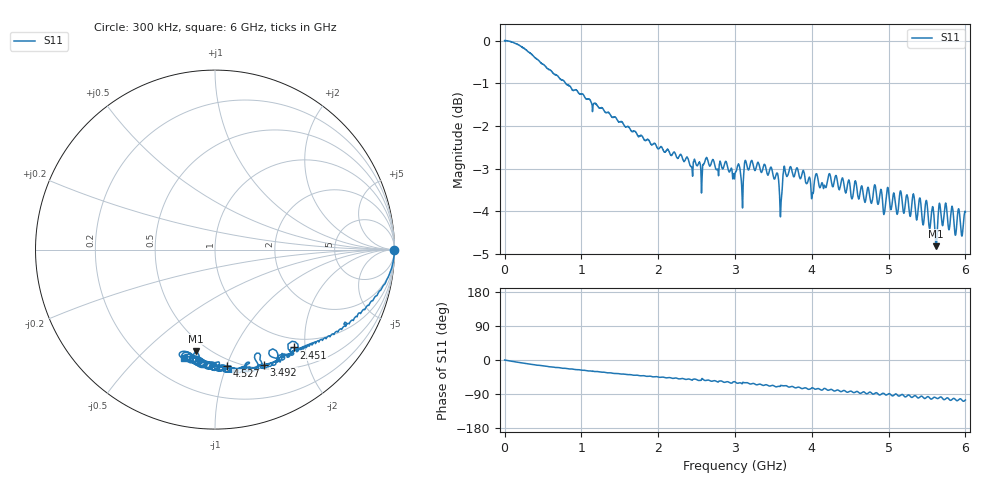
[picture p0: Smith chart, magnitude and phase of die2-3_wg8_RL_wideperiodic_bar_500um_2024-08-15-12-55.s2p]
!Keysight Technologies,P9374A,MY57304198,A.17.20.09
!Date: Thursday, August 15, 2024 12:56:09
!Correction: S11(C  1-Port  )
!S21(C  1-Port  )
!S12(Off)
!S22(Off)
!S2P File: Measurements: S11, S21, S12, S22:
# Hz S  dB  R 50
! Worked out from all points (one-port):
!   6000 points, 300 kHz to 6 GHz, reference 50 ohm
!   lowest |S11| = -4.8 dB at 5.619 GHz (marker M1), VSWR 3.70, Z = 21.7 - j36.6 ohm
!   |S11| at or under -10 dB: nowhere
!   S11 on the Smith chart (normalised r, x): 300 kHz: open; 2.451 GHz: 0.83, -1.78; 3.492 GHz: 0.54, -1.37; 4.527 GHz: 0.44, -1.01; 6 GHz: 0.35, -0.70
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300000  -0.00 -0.0  -200.00 45.0  -200.00 45.0  -200.00 45.0
4.153484e8  -0.43 -13.6  -200.00 45.0  -200.00 45.0  -200.00 45.0
1.000417e9  -1.25 -27.0  -200.00 45.0  -200.00 45.0  -200.00 45.0
2.000533e9  -2.53 -44.9  -200.00 45.0  -200.00 45.0  -200.00 45.0
2.450586e9  -3.10 -51.1  -200.00 45.0  -200.00 45.0  -200.00 45.0
3.00065e9  -3.11 -57.6  -200.00 45.0  -200.00 45.0  -200.00 45.0
3.072658e9  -3.11 -60.4  -200.00 45.0  -200.00 45.0  -200.00 45.0
3.142667e9  -2.83 -59.6  -200.00 45.0  -200.00 45.0  -200.00 45.0
3.491707e9  -3.11 -66.9  -200.00 45.0  -200.00 45.0  -200.00 45.0
3.595719e9  -3.99 -66.7  -200.00 45.0  -200.00 45.0  -200.00 45.0
3.646725e9  -2.98 -67.9  -200.00 45.0  -200.00 45.0  -200.00 45.0
3.715733e9  -2.96 -71.2  -200.00 45.0  -200.00 45.0  -200.00 45.0
3.961762e9  -3.22 -77.4  -200.00 45.0  -200.00 45.0  -200.00 45.0
4.000767e9  -3.68 -73.3  -200.00 45.0  -200.00 45.0  -200.00 45.0
4.225793e9  -3.12 -79.2  -200.00 45.0  -200.00 45.0  -200.00 45.0
4.526828e9  -3.69 -84.1  -200.00 45.0  -200.00 45.0  -200.00 45.0
5.000883e9  -3.54 -89.0  -200.00 45.0  -200.00 45.0  -200.00 45.0
5.556948e9  -4.08 -103.2  -200.00 45.0  -200.00 45.0  -200.00 45.0
5.618956e9  -4.81 -100.6  -200.00 45.0  -200.00 45.0  -200.00 45.0
5.668961e9  -3.84 -98.1  -200.00 45.0  -200.00 45.0  -200.00 45.0
5.724968e9  -4.02 -104.6  -200.00 45.0  -200.00 45.0  -200.00 45.0
6e9  -4.01 -105.5  -200.00 45.0  -200.00 45.0  -200.00 45.0
